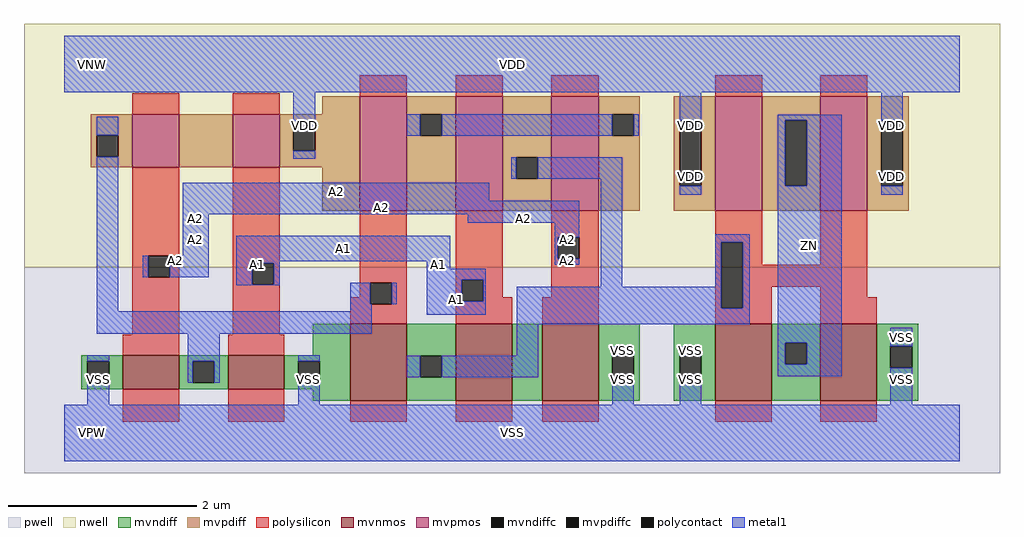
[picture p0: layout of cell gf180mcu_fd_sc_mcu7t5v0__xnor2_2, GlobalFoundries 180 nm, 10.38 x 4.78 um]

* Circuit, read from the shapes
.subckt gf180mcu_fd_sc_mcu7t5v0__xnor2_2 A1 A2 ZN VDD VNW VPW VSS
XM1 n1 A2 VSS VPW nfet_06v0 w=0.36u l=0.6u
XM2 VSS A1 n1 VPW nfet_06v0 w=0.36u l=0.6u
XM3 n2 n1 VSS VPW nfet_06v0 w=0.82u l=0.6u
XM4 n3 A1 n2 VPW nfet_06v0 w=0.82u l=0.6u
XM5 VSS A2 n3 VPW nfet_06v0 w=0.82u l=0.6u
XM6 ZN n2 VSS VPW nfet_06v0 w=0.82u l=0.6u m=2
XM7 n4 A2 n1 VNW pfet_06v0 w=0.565u l=0.5u
XM8 VDD A1 n4 VNW pfet_06v0 w=0.565u l=0.5u
XM9 n5 n1 VDD VNW pfet_06v0 w=1.22u l=0.5u
XM10 n2 A1 n5 VNW pfet_06v0 w=1.22u l=0.5u
XM11 n5 A2 n2 VNW pfet_06v0 w=1.22u l=0.5u
XM12 ZN n2 VDD VNW pfet_06v0 w=1.22u l=0.5u m=2
.ends

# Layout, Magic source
magic
tech gf180mcuD
magscale 1 10
<< nwell >>
rect -86 352 1990 870
<< pwell >>
rect -86 -86 1990 352
<< mvnmos >>
rect 124 93 244 165
rect 348 93 468 165
rect 608 68 728 232
rect 832 68 952 232
rect 1016 68 1136 232
rect 1384 68 1504 232
rect 1608 68 1728 232
<< mvpmos >>
rect 144 565 244 678
rect 358 565 458 678
rect 628 472 728 716
rect 832 472 932 716
rect 1036 472 1136 716
rect 1384 472 1484 716
rect 1608 472 1708 716
<< mvndiff >>
rect 528 165 608 232
rect 36 152 124 165
rect 36 106 49 152
rect 95 106 124 152
rect 36 93 124 106
rect 244 152 348 165
rect 244 106 273 152
rect 319 106 348 152
rect 244 93 348 106
rect 468 152 608 165
rect 468 106 497 152
rect 543 106 608 152
rect 468 93 608 106
rect 528 68 608 93
rect 728 164 832 232
rect 728 118 757 164
rect 803 118 832 164
rect 728 68 832 118
rect 952 68 1016 232
rect 1136 164 1224 232
rect 1136 118 1165 164
rect 1211 118 1224 164
rect 1136 68 1224 118
rect 1296 164 1384 232
rect 1296 118 1309 164
rect 1355 118 1384 164
rect 1296 68 1384 118
rect 1504 192 1608 232
rect 1504 146 1533 192
rect 1579 146 1608 192
rect 1504 68 1608 146
rect 1728 184 1816 232
rect 1728 138 1757 184
rect 1803 138 1816 184
rect 1728 68 1816 138
<< mvpdiff >>
rect 548 678 628 716
rect 56 633 144 678
rect 56 587 69 633
rect 115 587 144 633
rect 56 565 144 587
rect 244 565 358 678
rect 458 646 628 678
rect 458 600 487 646
rect 533 600 628 646
rect 458 565 628 600
rect 548 472 628 565
rect 728 678 832 716
rect 728 632 757 678
rect 803 632 832 678
rect 728 472 832 632
rect 932 586 1036 716
rect 932 540 961 586
rect 1007 540 1036 586
rect 932 472 1036 540
rect 1136 678 1224 716
rect 1136 632 1165 678
rect 1211 632 1224 678
rect 1136 472 1224 632
rect 1296 665 1384 716
rect 1296 525 1309 665
rect 1355 525 1384 665
rect 1296 472 1384 525
rect 1484 665 1608 716
rect 1484 525 1533 665
rect 1579 525 1608 665
rect 1484 472 1608 525
rect 1708 665 1796 716
rect 1708 525 1737 665
rect 1783 525 1796 665
rect 1708 472 1796 525
<< mvndiffc >>
rect 49 106 95 152
rect 273 106 319 152
rect 497 106 543 152
rect 757 118 803 164
rect 1165 118 1211 164
rect 1309 118 1355 164
rect 1533 146 1579 192
rect 1757 138 1803 184
<< mvpdiffc >>
rect 69 587 115 633
rect 487 600 533 646
rect 757 632 803 678
rect 961 540 1007 586
rect 1165 632 1211 678
rect 1309 525 1355 665
rect 1533 525 1579 665
rect 1737 525 1783 665
<< polysilicon >>
rect 144 678 244 722
rect 358 678 458 722
rect 628 716 728 760
rect 832 716 932 760
rect 1036 716 1136 760
rect 1384 716 1484 760
rect 1608 716 1708 760
rect 144 377 244 565
rect 144 331 178 377
rect 224 331 244 377
rect 144 209 244 331
rect 358 361 458 565
rect 358 315 399 361
rect 445 315 458 361
rect 358 209 458 315
rect 628 319 728 472
rect 628 288 650 319
rect 608 273 650 288
rect 696 273 728 319
rect 608 232 728 273
rect 832 326 932 472
rect 832 280 845 326
rect 891 288 932 326
rect 1036 416 1136 472
rect 1036 370 1049 416
rect 1095 370 1136 416
rect 1036 288 1136 370
rect 891 280 952 288
rect 832 232 952 280
rect 1016 232 1136 288
rect 1384 405 1484 472
rect 1384 265 1397 405
rect 1443 357 1484 405
rect 1608 357 1708 472
rect 1443 311 1708 357
rect 1443 265 1504 311
rect 1384 232 1504 265
rect 1608 288 1708 311
rect 1608 232 1728 288
rect 124 165 244 209
rect 348 165 468 209
rect 124 24 244 93
rect 348 24 468 93
rect 608 24 728 68
rect 832 24 952 68
rect 1016 24 1136 68
rect 1384 24 1504 68
rect 1608 24 1728 68
<< polycontact >>
rect 178 331 224 377
rect 399 315 445 361
rect 650 273 696 319
rect 845 280 891 326
rect 1049 370 1095 416
rect 1397 265 1443 405
<< metal1 >>
rect 0 724 1904 844
rect 69 633 115 672
rect 69 258 115 587
rect 487 646 533 724
rect 728 632 757 678
rect 803 632 1165 678
rect 1211 632 1222 678
rect 1309 665 1355 724
rect 487 583 533 600
rect 950 540 961 586
rect 1007 540 1187 586
rect 252 494 904 532
rect 252 465 1095 494
rect 252 377 307 465
rect 858 447 1095 465
rect 167 331 178 377
rect 224 331 307 377
rect 365 365 821 419
rect 365 361 458 365
rect 365 315 399 361
rect 445 315 458 361
rect 771 349 821 365
rect 1043 416 1095 447
rect 1043 370 1049 416
rect 1043 357 1095 370
rect 771 326 896 349
rect 365 314 458 315
rect 608 273 650 319
rect 696 273 707 319
rect 771 280 845 326
rect 891 280 896 326
rect 1141 311 1187 540
rect 1309 506 1355 525
rect 1517 665 1653 676
rect 1517 525 1533 665
rect 1579 525 1653 665
rect 1384 405 1458 422
rect 1384 311 1397 405
rect 608 258 654 273
rect 69 211 654 258
rect 771 251 896 280
rect 962 265 1397 311
rect 1443 265 1458 405
rect 962 231 1458 265
rect 49 152 95 165
rect 262 152 330 211
rect 262 106 273 152
rect 319 106 330 152
rect 497 152 543 165
rect 962 164 1008 231
rect 1517 192 1653 525
rect 1737 665 1783 724
rect 1737 506 1783 525
rect 728 118 757 164
rect 803 118 1008 164
rect 1165 164 1211 183
rect 49 60 95 106
rect 497 60 543 106
rect 1165 60 1211 118
rect 1309 164 1355 183
rect 1517 146 1533 192
rect 1579 146 1653 192
rect 1517 120 1653 146
rect 1757 184 1803 223
rect 1309 60 1355 118
rect 1757 60 1803 138
rect 0 -60 1904 60
<< labels >>
flabel metal1 s 0 724 1904 844 0 FreeSans 400 0 0 0 VDD
port 4 nsew power bidirectional abutment
flabel metal1 s 1757 183 1803 223 0 FreeSans 400 0 0 0 VSS
port 7 nsew ground bidirectional abutment
flabel metal1 s 1517 120 1653 676 0 FreeSans 400 0 0 0 ZN
port 3 nsew default output
flabel metal1 s 365 365 821 419 0 FreeSans 400 0 0 0 A1
port 1 nsew default input
flabel metal1 s 252 494 904 532 0 FreeSans 400 0 0 0 A2
port 2 nsew default input
flabel nwell s 10 734 110 834 0 FreeSans 400 0 0 0 VNW
port 5 nsew power bidirectional
flabel pwell s 10 -50 110 50 0 FreeSans 400 0 0 0 VPW
port 6 nsew ground bidirectional
rlabel metal1 s 771 349 821 365 1 A1
port 1 nsew default input
rlabel metal1 s 365 349 458 365 1 A1
port 1 nsew default input
rlabel metal1 s 771 314 896 349 1 A1
port 1 nsew default input
rlabel metal1 s 365 314 458 349 1 A1
port 1 nsew default input
rlabel metal1 s 771 251 896 314 1 A1
port 1 nsew default input
rlabel metal1 s 252 465 1095 494 1 A2
port 2 nsew default input
rlabel metal1 s 858 447 1095 465 1 A2
port 2 nsew default input
rlabel metal1 s 252 447 307 465 1 A2
port 2 nsew default input
rlabel metal1 s 1043 377 1095 447 1 A2
port 2 nsew default input
rlabel metal1 s 252 377 307 447 1 A2
port 2 nsew default input
rlabel metal1 s 1043 357 1095 377 1 A2
port 2 nsew default input
rlabel metal1 s 167 357 307 377 1 A2
port 2 nsew default input
rlabel metal1 s 167 331 307 357 1 A2
port 2 nsew default input
rlabel metal1 s 1737 583 1783 724 1 VDD
port 4 nsew power bidirectional abutment
rlabel metal1 s 1309 583 1355 724 1 VDD
port 4 nsew power bidirectional abutment
rlabel metal1 s 487 583 533 724 1 VDD
port 4 nsew power bidirectional abutment
rlabel metal1 s 1737 506 1783 583 1 VDD
port 4 nsew power bidirectional abutment
rlabel metal1 s 1309 506 1355 583 1 VDD
port 4 nsew power bidirectional abutment
rlabel metal1 s 1757 165 1803 183 1 VSS
port 7 nsew ground bidirectional abutment
rlabel metal1 s 1309 165 1355 183 1 VSS
port 7 nsew ground bidirectional abutment
rlabel metal1 s 1165 165 1211 183 1 VSS
port 7 nsew ground bidirectional abutment
rlabel metal1 s 1757 60 1803 165 1 VSS
port 7 nsew ground bidirectional abutment
rlabel metal1 s 1309 60 1355 165 1 VSS
port 7 nsew ground bidirectional abutment
rlabel metal1 s 1165 60 1211 165 1 VSS
port 7 nsew ground bidirectional abutment
rlabel metal1 s 497 60 543 165 1 VSS
port 7 nsew ground bidirectional abutment
rlabel metal1 s 49 60 95 165 1 VSS
port 7 nsew ground bidirectional abutment
rlabel metal1 s 0 -60 1904 60 1 VSS
port 7 nsew ground bidirectional abutment
<< properties >>
string FIXED_BBOX 0 0 1904 784
string GDS_END 329098
string GDS_FILE $PDKPATH/libs.ref/gf180mcu_fd_sc_mcu7t5v0/gds/gf180mcu_fd_sc_mcu7t5v0.gds
string GDS_START 324264
string LEFclass core
string LEFsite GF018hv5v_mcu_sc7
string LEFsymmetry X Y
<< end >>
